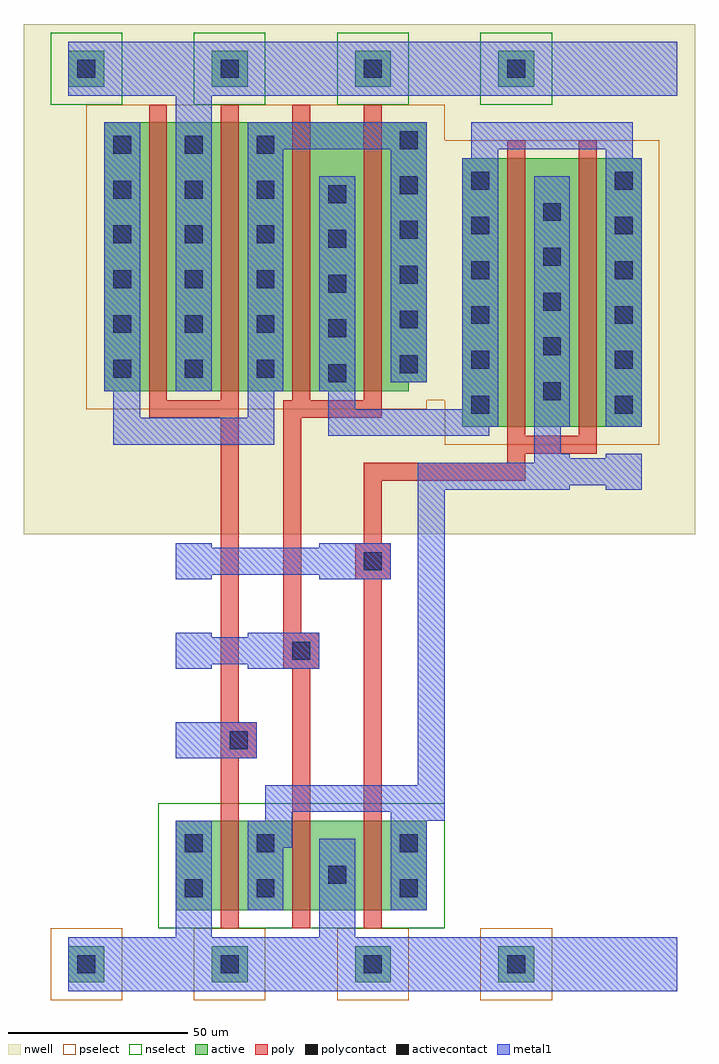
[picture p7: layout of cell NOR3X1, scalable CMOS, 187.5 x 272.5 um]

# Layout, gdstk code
import gdstk
lib = gdstk.Library(unit=1e-6, precision=1e-09)
def R(c, l, rs):  # rectangles x0, y0, x1, y1
    for r in rs: c.add(gdstk.rectangle(r[:2], r[2:], *l))
def A(c, l, x, y, w, h, nx, ny, dx, dy):  # array of equal rectangles
    R(c, l, [(x+i*dx, y+j*dy, x+i*dx+w, y+j*dy+h) for i in range(nx) for j in range(ny)])
nwell = (42, 0)
active = (43, 0)
pselect = (44, 0)
nselect = (45, 0)
poly = (46, 0)
polycontact = (47, 0)
activecontact = (48, 0)
metal1 = (49, 0)

nor3x1 = lib.new_cell('NOR3X1')
R(nor3x1, nwell, [(-17.5,120,170,262.5)])
A(nor3x1, active, -5, -5, 10, 10, 4, 2, 40, 250)
R(nor3x1, active, [(25,15,95,40), (105,150,155,225), (5,160,90,162.5), (5,162.5,95,235)])
A(nor3x1, pselect, -10, -10, 20, 20, 4, 1, 40, 0)
R(nor3x1, pselect, [(100,145,160,157.5), (0,155,95,157.5), (0,157.5,160,230), (0,230,100,240)])
A(nor3x1, nselect, -10, 240, 20, 20, 4, 1, 40, 0)
R(nor3x1, nselect, [(20,10,100,45)])
A(nor3x1, poly, 17.5, 157.5, 5, 82.5, 4, 1, 20, 0)
R(nor3x1, poly, [(37.5,10,42.5,57.5), (57.5,10,62.5,82.5), (77.5,10,82.5,107.5), (37.5,57.5,47.5,67.5), (37.5,67.5,42.5,152.5), (55,82.5,65,92.5), (55,92.5,60,152.5), (75,107.5,85,117.5), (77.5,117.5,82.5,135), (77.5,135,122.5,140), (117.5,140,122.5,142.5), (117.5,142.5,142.5,147.5), (117.5,147.5,122.5,230), (137.5,147.5,142.5,230), (17.5,152.5,42.5,157.5), (55,152.5,82.5,157.5)])
R(nor3x1, polycontact, [(40,60,45,65), (57.5,85,62.5,90), (77.5,110,82.5,115)])
A(nor3x1, activecontact, -2.5, -2.5, 5, 5, 4, 2, 40, 250)
A(nor3x1, activecontact, 107.5, 153.75, 5, 5, 1, 6, 0, 12.5)
A(nor3x1, activecontact, 147.5, 153.75, 5, 5, 1, 6, 0, 12.5)
A(nor3x1, activecontact, 127.5, 157.5, 5, 5, 1, 5, 0, 12.5)
A(nor3x1, activecontact, 67.5, 162.5, 5, 5, 1, 5, 0, 12.5)
A(nor3x1, activecontact, 7.5, 163.75, 5, 5, 3, 6, 20, 12.5)
A(nor3x1, activecontact, 87.5, 165, 5, 5, 1, 6, 0, 12.5)
R(nor3x1, activecontact, [(27.5,18.75,32.5,23.75), (47.5,18.75,52.5,23.75), (87.5,18.75,92.5,23.75), (67.5,22.5,72.5,27.5), (27.5,31.25,32.5,36.25), (47.5,31.25,52.5,36.25), (87.5,31.25,92.5,36.25)])
R(nor3x1, metal1, [(-5,-7.5,165,7.5), (25,7.5,35,40), (65,7.5,75,35), (45,15,55,32.5), (85,15,95,40), (45,32.5,57.5,40), (50,40,57.5,42.5), (85,40,100,42.5), (50,42.5,100,50), (92.5,50,100,132.5), (25,57.5,47.5,67.5), (25,82.5,35,92.5), (45,82.5,65,92.5), (26.25,83.75,53.75,91.25), (25,107.5,35,117.5), (65,107.5,85,117.5), (26.25,108.75,73.75,116.25), (92.5,132.5,135,140), (145,132.5,155,142.5), (126.25,133.75,153.75,141.25), (125,140,135,142.5), (125,142.5,132.5,150), (7.5,145,52.5,152.5), (67.5,147.5,112.5,150), (67.5,150,115,155), (125,150,135,220), (145,150,155,225), (7.5,152.5,15,160), (45,152.5,52.5,160), (67.5,155,75,160), (105,155,115,225), (5,160,15,235), (25,160,35,242.5), (45,160,55,227.5), (65,160,75,220), (85,162.5,95,227.5), (107.5,225,115,227.5), (145,225,152.5,227.5), (45,227.5,95,235), (107.5,227.5,152.5,235), (-5,242.5,165,257.5)])

lib.write_gds('NOR3X1.gds')
